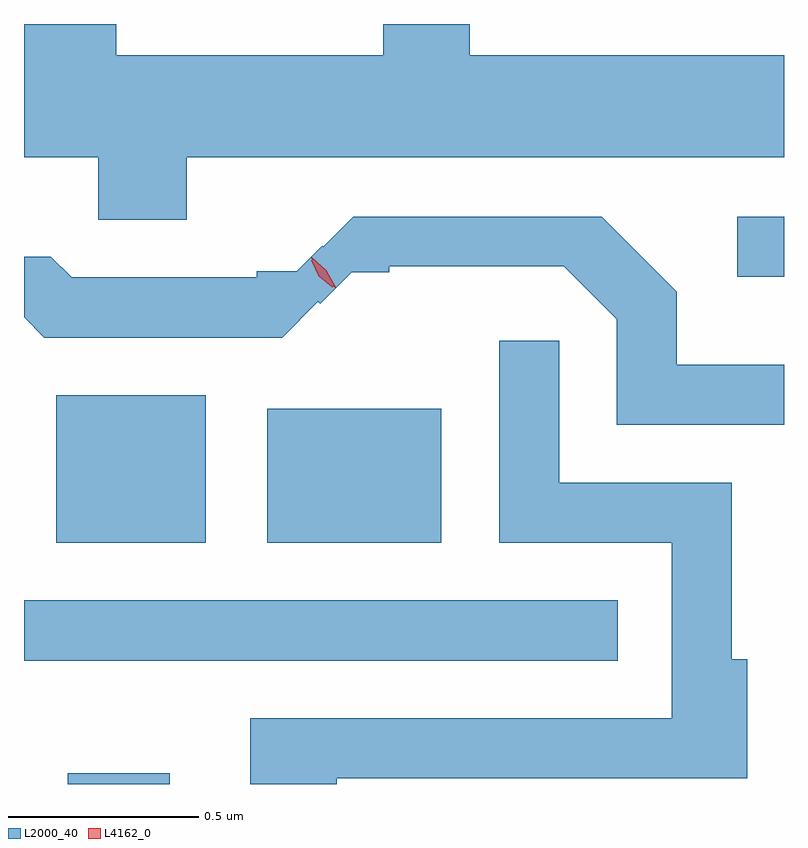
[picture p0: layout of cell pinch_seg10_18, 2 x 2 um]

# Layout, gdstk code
import gdstk
lib = gdstk.Library(unit=1e-6, precision=1e-09)
def R(c, l, rs):  # rectangles x0, y0, x1, y1
    for r in rs: c.add(gdstk.rectangle(r[:2], r[2:], *l))
def P(c, l, *ps):  # polygons
    for p in ps: c.add(gdstk.Polygon(p, *l))
L2000_40 = (2000, 40)
L4162_0 = (4162, 0)

pinch_seg10_18 = lib.new_cell('pinch_seg10_18')
R(pinch_seg10_18, L2000_40, [(827.971,2165.546,828.239,2165.574), (827.856,2165.871,829.418,2166.029), (827.941,2166.181,828.334,2166.569), (828.496,2166.181,828.954,2166.534), (829.733,2166.881,829.856,2167.039)])
P(pinch_seg10_18, L2000_40, [(828.284,2167.196),(829.856,2167.196),(829.856,2167.464),(829.029,2167.464),(829.029,2167.546),(828.801,2167.546),(828.801,2167.464),(828.099,2167.464),(828.099,2167.546),(827.856,2167.546),(827.856,2167.196),(828.051,2167.196),(828.051,2167.031),(828.284,2167.031)],
  [(829.856,2166.649),(829.574,2166.649),(829.574,2166.842),(829.377,2167.039),(828.723,2167.039),(828.644,2166.96),(828.641,2166.963),(828.574,2166.895),(828.469,2166.895),(828.469,2166.879),(827.982,2166.879),(827.927,2166.934),(827.856,2166.934),(827.856,2166.774),(827.909,2166.721),(828.536,2166.721),(828.629,2166.815),(828.635,2166.81),(828.718,2166.893),(828.817,2166.893),(828.817,2166.909),(829.276,2166.909),(829.416,2166.769),(829.416,2166.491),(829.856,2166.491)],
  [(828.679,2165.561),(829.759,2165.561),(829.759,2165.874),(829.719,2165.874),(829.719,2166.339),(829.264,2166.339),(829.264,2166.713),(829.106,2166.713),(829.106,2166.181),(829.561,2166.181),(829.561,2165.719),(828.451,2165.719),(828.451,2165.546),(828.679,2165.546)])
P(pinch_seg10_18, L4162_0, [(828.667,2166.853),(828.632,2166.882),(828.612,2166.924),(828.612,2166.924),(828.613,2166.924),(828.648,2166.895),(828.668,2166.854),(828.668,2166.853)],
  [(828.675,2166.852),(828.636,2166.885),(828.612,2166.931),(828.612,2166.932),(828.613,2166.932),(828.652,2166.898),(828.676,2166.853),(828.676,2166.852)])

lib.write_gds('pinch_seg10_18.gds')
